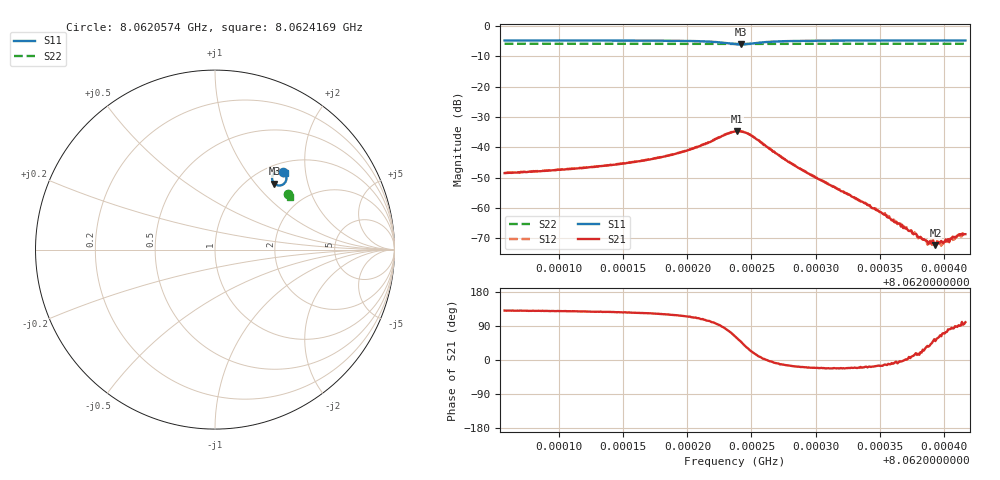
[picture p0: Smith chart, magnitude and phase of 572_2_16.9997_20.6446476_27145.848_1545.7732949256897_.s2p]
#  HZ  S  RI  R  50.00
! Rohde & Schwarz Vector Network Analyzer
! Rohde-Schwarz,ZNB20-2Port,1311601062101988,3.16
! Created: UTC 3/20/2024, 11:17:46 PM
! freq[Hz]  re:S11  im:S11  re:S21  im:S21  re:S12  im:S12  re:S22  im:S22
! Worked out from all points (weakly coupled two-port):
!   401 points, 8.0620574 GHz to 8.0624169 GHz, reference 50 ohm
!   highest |S21| = -34.69 dB at 8.0622389 GHz (marker M1); lowest = -72.2 dB at 8.0623935 GHz (marker M2)
!   lowest |S11| = -6.1 dB at 8.0622416 GHz (marker M3), VSWR 2.96, Z = 64.9 + j63.1 ohm
!   |S11| at or under -10 dB: nowhere
!   |S22| runs from -5.9 to -5.9 dB; largest |S21 - S12| = 0.0013
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8.06205737e9  0.3808 0.4321  -0.00244 0.00285  -0.00227 0.00304  0.4044 0.3083
8.06211759e9  0.3864 0.4263  -0.00278 0.00357  -0.00263 0.00376  0.4067 0.305
8.06214905e9  0.3901 0.4216  -0.00315 0.00436  -0.0029 0.00459  0.4079 0.3033
8.06217781e9  0.3942 0.4142  -0.00355 0.00573  -0.00323 0.00602  0.409 0.3015
8.06220297e9  0.3978 0.4004  -0.00363 0.00859  -0.00318 0.00884  0.4098 0.2997
8.06222365e9  0.3899 0.3729  -0.00102 0.0142  -0.000114 0.0143  0.4096 0.2976
8.06223713e9  0.3496 0.3579  0.00838 0.0162  0.00942 0.0158  0.4082 0.2969
8.06223893e9  0.3421 0.3604  0.0101 0.0154  0.0109 0.015  0.4078 0.2971
8.06224162e9  0.3314 0.3672  0.012 0.0138  0.0131 0.013  0.4077 0.2974
8.06225061e9  0.3185 0.4022  0.0142 0.00551  0.0147 0.00467  0.4079 0.2987
8.06227667e9  0.3527 0.4368  0.006 -0.00145  0.00599 -0.00178  0.4107 0.2984
8.06229735e9  0.3666 0.4362  0.00319 -0.00118  0.00315 -0.00142  0.4121 0.2971
8.06234049e9  0.3789 0.4315  0.00105 -0.000374  0.00104 -0.000433  0.4139 0.2946
8.06235756e9  0.3817 0.4299  0.000676 -0.000134  0.000705 -0.000161  0.4146 0.2938
8.06237284e9  0.3839 0.4286  0.000413 5.83e-05  0.00045 2.73e-05  0.415 0.2928
8.06238093e9  0.3848 0.4282  0.000319 7.83e-05  0.000327 5.49e-05  0.4156 0.2926
8.06238812e9  0.3857 0.4273  0.000206 0.000147  0.00026 0.000154  0.4157 0.2921
8.06239262e9  0.3861 0.4272  0.000143 0.000203  0.000184 0.000209  0.4158 0.292
8.06239351e9  0.3862 0.4269  0.000159 0.000189  0.00016 0.000172  0.4159 0.2919
8.06239891e9  0.3867 0.4265  9.49e-05 0.000258  9.56e-05 0.000251  0.4162 0.2916
8.06241239e9  0.388 0.4256  -2.28e-06 0.000371  -1.36e-05 0.000367  0.4166 0.2907
8.06241688e9  0.3884 0.4252  -6.19e-05 0.000365  -3.43e-05 0.000364  0.4168 0.2907
